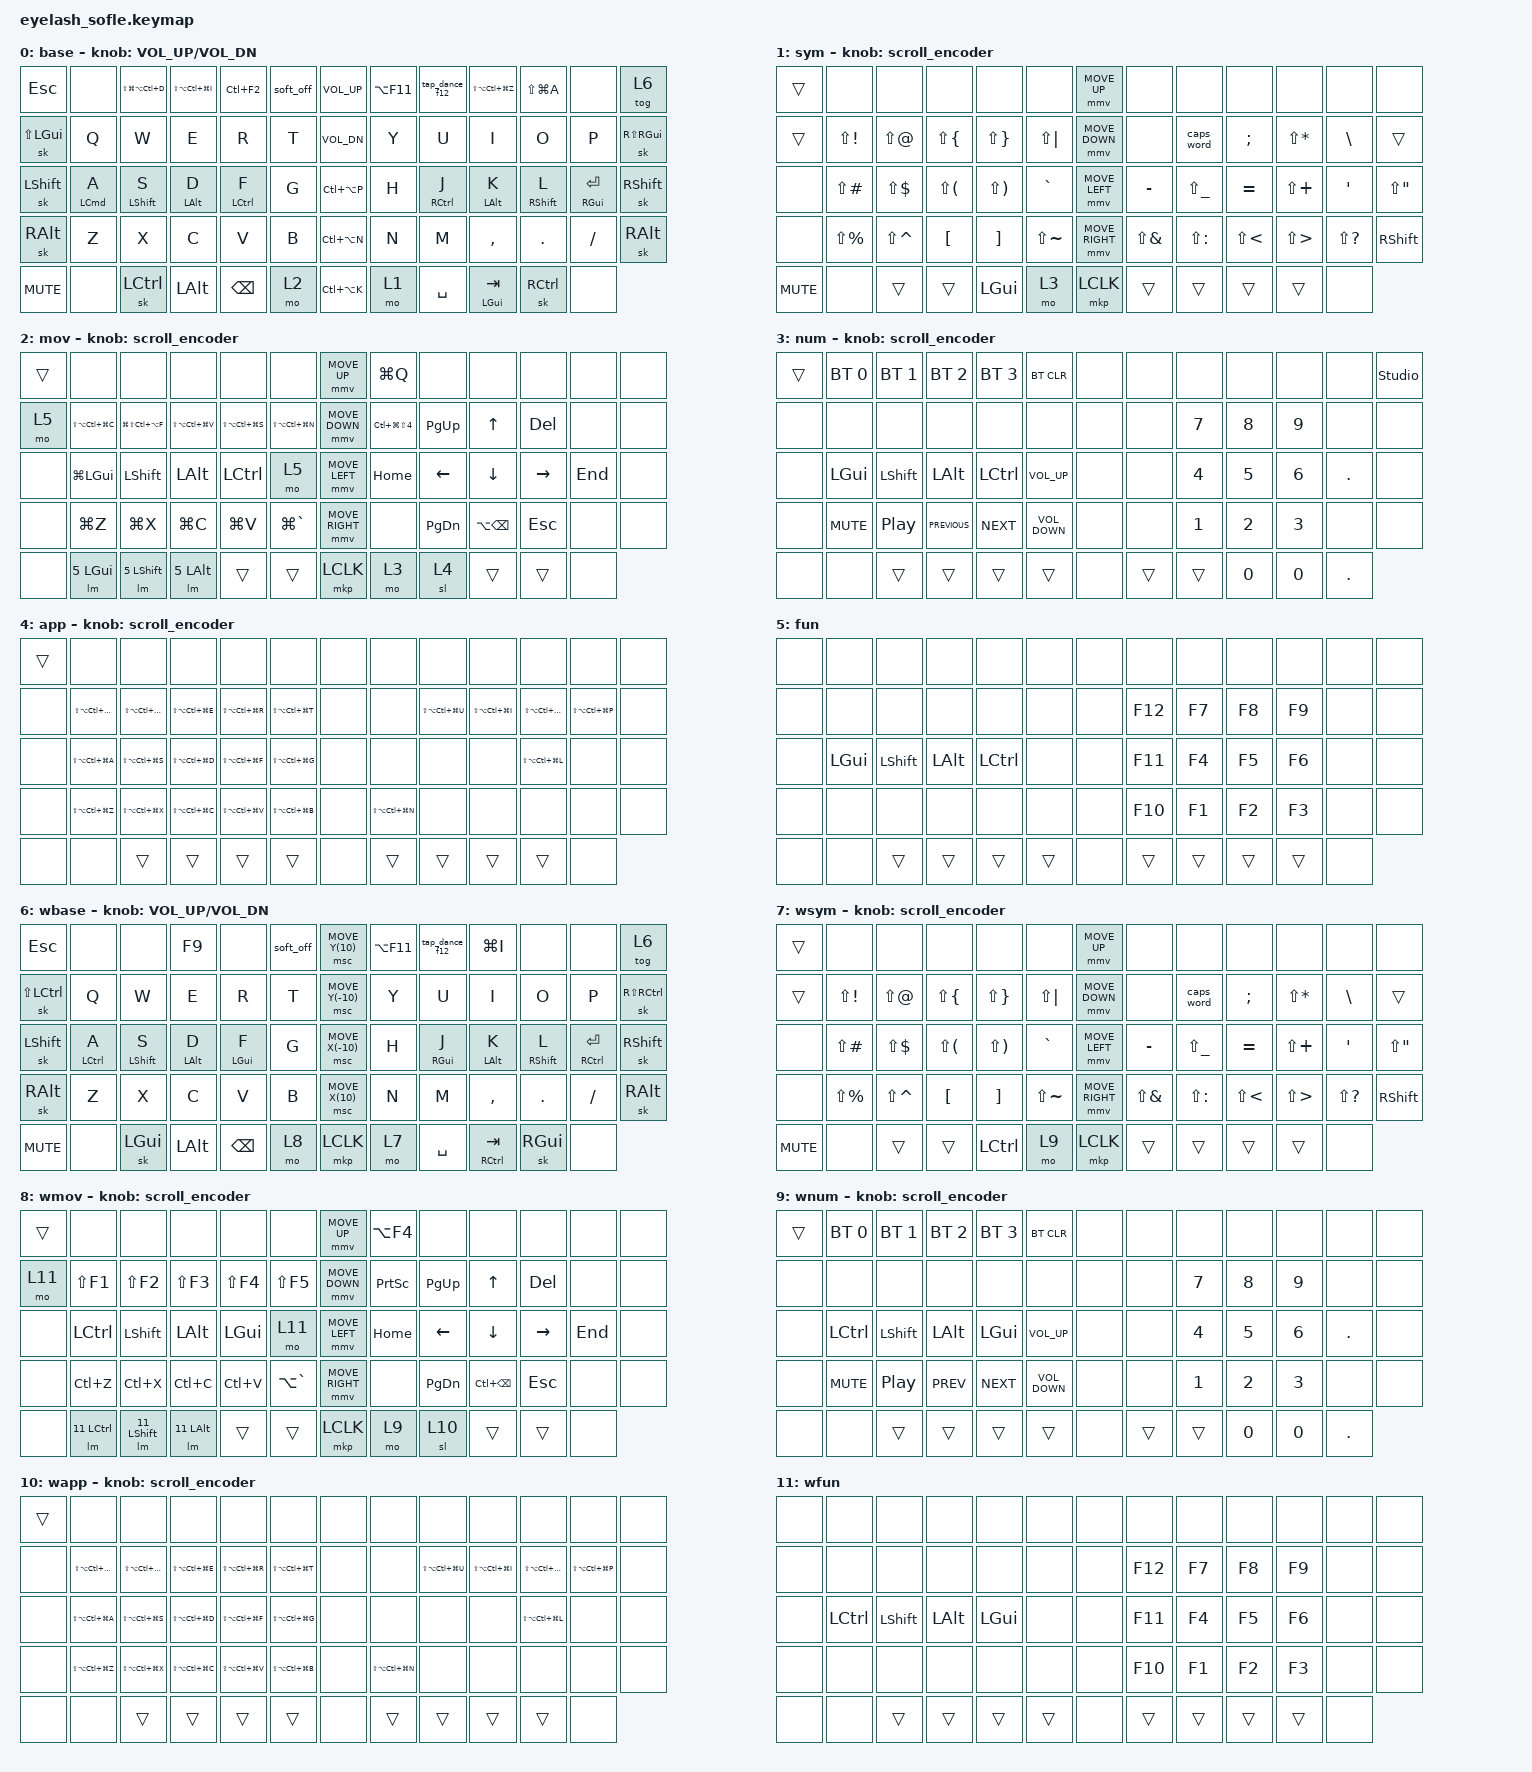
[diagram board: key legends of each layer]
#define ZMK_POINTING_DEFAULT_MOVE_VAL 1200  // 600
#define ZMK_POINTING_DEFAULT_SCRL_VAL 25   // 10

#include <input/processors.dtsi>
#include <zephyr/dt-bindings/input/input-event-codes.h>
#include <behaviors.dtsi>
#include <dt-bindings/zmk/bt.h>
#include <dt-bindings/zmk/keys.h>
#include <dt-bindings/zmk/pointing.h>

&mmv_input_listener { input-processors = <&zip_xy_scaler 2 1>; };

&msc_input_listener { input-processors = <&zip_scroll_scaler 2 1>; };

&msc {
    acceleration-exponent = <1>;      // 0
    time-to-max-speed-ms = <100>;       // 300
    delay-ms = <0>;                   // 0
};

&mmv {
    time-to-max-speed-ms = <500>;
    acceleration-exponent = <1>;
    trigger-period-ms = <16>;
};

&soft_off { hold-time-ms = <2000>; };

/ {
    scroll_encoder: scroll_encoder {
        compatible = "zmk,behavior-sensor-rotate";
        #sensor-binding-cells = <0>;
        bindings = <&msc SCRL_DOWN>, <&msc SCRL_UP>;

        tap-ms = <100>;
    };

    tap_dance_f12: tap_dance_f12 {
        compatible = "zmk,behavior-tap-dance";
        label = "TAP_DANCE_F12";
        #binding-cells = <0>;
        bindings = <&kp F12>, <&kp LS(LA(F12))>;

        tapping-term-ms = <160>;
    };

    behaviors {
        my_lt: my_layer_tap {
            compatible = "zmk,behavior-hold-tap";
            tapping-term-ms = <150>;
            quick-tap-ms = <140>;
            flavor = "hold-preferred";
            #binding-cells = <2>;
            bindings = <&mo>, <&kp>;

            require-prior-idle-ms = <140>;
            display-name = "My Layer-Tap";
        };

        hml: home_row_mod_left {
            compatible = "zmk,behavior-hold-tap";
            #binding-cells = <2>;
            flavor = "balanced";
            require-prior-idle-ms = <150>;
            tapping-term-ms = <280>;
            quick-tap-ms = <175>;
            bindings = <&kp>, <&kp>;

            hold-trigger-on-release;
            hold-trigger-key-positions = <20 21 22 23 24 25 38 51 50 49 48 47 46 33 34 35 36 37 60 59 61>;
        };

        hmr: home_row_mod_right {
            compatible = "zmk,behavior-hold-tap";
            #binding-cells = <2>;
            flavor = "balanced";
            require-prior-idle-ms = <150>;
            tapping-term-ms = <280>;
            quick-tap-ms = <175>;
            bindings = <&kp>, <&kp>;

            hold-trigger-on-release;
            hold-trigger-key-positions = <13 14 15 16 17 18 31 44 43 42 41 40 39 26 27 28 29 30 56>;
        };
    };

    combos {
        compatible = "zmk,combos";

        softoff {
            bindings = <&soft_off>;
            key-positions = <14 28 40>;
        };
    };

    macros {
        SHIFT_MCLK: SHIFT_MCLK {
            compatible = "zmk,behavior-macro";
            #binding-cells = <0>;
            bindings =
                <&macro_press>,
                <&kp LEFT_SHIFT>,
                <&macro_press>,
                <&mkp MB3>,
                <&macro_pause_for_release>,
                <&macro_release>,
                <&kp LEFT_SHIFT &mkp MB3>;

            label = "SHIFT_MCLK";
        };

        lm: lm {
            compatible = "zmk,behavior-macro-two-param";
            #binding-cells = <2>;
            bindings =
                <&macro_param_1to1>,
                <&macro_press>,
                <&mo MACRO_PLACEHOLDER &macro_param_2to1>,
                <&macro_press>,
                <&kp MACRO_PLACEHOLDER>,
                <&macro_pause_for_release>,
                <&macro_param_2to1>,
                <&macro_release>,
                <&kp MACRO_PLACEHOLDER &macro_param_1to1>,
                <&macro_release>,
                <&mo MACRO_PLACEHOLDER>;

            label = "LM";
        };
    };

    keymap {
        compatible = "zmk,keymap";

        base {
            bindings = <
&kp ESC           &none                &kp LS(LG(LA(LC(D))))  &kp LS(LA(LC(LG(I))))  &kp LC(F2)     &soft_off    &kp C_VOLUME_UP  &kp LA(F11)  &tap_dance_f12  &kp LS(LA(LC(LG(Z))))  &kp LS(LG(A))       &none                 &tog 6
&sk LS(LEFT_GUI)  &kp Q                &kp W                  &kp E                  &kp R          &kp T        &kp C_VOL_DN     &kp Y        &kp U           &kp I                  &kp O               &kp P                 &sk RS(RIGHT_GUI)
&sk LEFT_SHIFT    &hml LEFT_COMMAND A  &hml LEFT_SHIFT S      &hml LEFT_ALT D        &hml LCTRL F   &kp G        &kp LC(LA(P))    &kp H        &hmr RCTRL J    &hmr LEFT_ALT K        &hmr RIGHT_SHIFT L  &hmr RIGHT_GUI ENTER  &sk RSHIFT
&sk RIGHT_ALT     &kp Z                &kp X                  &kp C                  &kp V          &kp B        &kp LC(LA(N))    &kp N        &kp M           &kp COMMA              &kp DOT             &kp FSLH              &sk RIGHT_ALT
&kp C_MUTE        &none                &sk LCTRL              &kp LEFT_ALT           &kp BACKSPACE  &mo 2        &kp LC(LA(K))    &mo 1        &kp SPACE       &mt LEFT_GUI TAB       &sk RCTRL           &none
            >;

            sensor-bindings = <&inc_dec_kp C_VOLUME_UP C_VOL_DN>;
            display-name = "base";
        };

        sym {
            bindings = <
&trans      &none          &none          &none         &none         &none            &mmv MOVE_UP     &none         &none          &none       &none         &none          &none
&trans      &kp LS(EXCL)   &kp LS(AT)     &kp LS(LBRC)  &kp LS(RBRC)  &kp LS(PIPE)     &mmv MOVE_DOWN   &none         &caps_word     &kp SEMI    &kp LS(STAR)  &kp BSLH       &trans
&none       &kp LS(POUND)  &kp LS(DLLR)   &kp LS(LPAR)  &kp LS(RPAR)  &kp GRAVE        &mmv MOVE_LEFT   &kp MINUS     &kp LS(UNDER)  &kp EQUAL   &kp LS(PLUS)  &kp SQT        &kp LS(DQT)
&none       &kp LS(PRCNT)  &kp LS(CARET)  &kp LBKT      &kp RBKT      &kp LS(TILDE)    &mmv MOVE_RIGHT  &kp LS(AMPS)  &kp LS(COLON)  &kp LS(LT)  &kp LS(GT)    &kp LS(QMARK)  &kp RIGHT_SHIFT
&kp C_MUTE  &none          &trans         &trans        &kp LEFT_GUI  &mo 3            &mkp LCLK        &trans        &trans         &trans      &trans        &none
            >;

            display-name = "sym";
            sensor-bindings = <&scroll_encoder>;
        };

        mov {
            bindings = <
&trans  &none                  &none                  &none                  &none                  &none                    &mmv MOVE_UP     &kp LG(Q)                 &none      &none         &none      &none    &none
&mo 5   &kp LS(LA(LC(LG(C))))  &kp LG(LS(LC(LA(F))))  &kp LS(LA(LC(LG(V))))  &kp LS(LA(LC(LG(S))))  &kp LS(LA(LC(LG(N))))    &mmv MOVE_DOWN   &kp LC(LG(LS(NUMBER_4)))  &kp PG_UP  &kp UP        &kp DEL    &none    &none
&none   &kp LG(LEFT_GUI)       &kp LEFT_SHIFT         &kp LEFT_ALT           &kp LCTRL              &mo 5                    &mmv MOVE_LEFT   &kp HOME                  &kp LEFT   &kp DOWN      &kp RIGHT  &kp END  &none
&none   &kp LG(Z)              &kp LG(X)              &kp LG(C)              &kp LG(V)              &kp LG(GRAVE)            &mmv MOVE_RIGHT  &none                     &kp PG_DN  &kp LA(BSPC)  &kp ESC    &none    &none
&none   &lm 5 LEFT_GUI         &lm 5 LEFT_SHIFT       &lm 5 LEFT_ALT         &trans                 &trans                   &mkp LCLK        &mo 3                     &sl 4      &trans        &trans     &none
            >;

            display-name = "mov";
            sensor-bindings = <&scroll_encoder>;
        };

        num {
            bindings = <
&trans  &bt BT_SEL 0  &bt BT_SEL 1      &bt BT_SEL 2    &bt BT_SEL 3  &bt BT_CLR           &none  &none   &none   &none   &none   &none    &studio_unlock
&none   &none         &none             &none           &none         &none                &none  &none   &kp N7  &kp N8  &kp N9  &none    &none
&none   &kp LEFT_GUI  &kp LSHIFT        &kp LEFT_ALT    &kp LCTRL     &kp K_VOLUME_UP      &none  &none   &kp N4  &kp N5  &kp N6  &kp DOT  &none
&none   &kp K_MUTE    &kp C_PLAY_PAUSE  &kp C_PREVIOUS  &kp C_NEXT    &kp K_VOLUME_DOWN    &none  &none   &kp N1  &kp N2  &kp N3  &none    &none
&none   &none         &trans            &trans          &trans        &trans               &none  &trans  &trans  &kp N0  &kp N0  &kp DOT
            >;

            display-name = "num";
            sensor-bindings = <&scroll_encoder>;
        };

        app {
            bindings = <
&trans  &none                  &none                  &none                  &none                  &none                    &none  &none                  &none                  &none                  &none                  &none                  &none
&none   &kp LS(LA(LC(LG(Q))))  &kp LS(LA(LC(LG(W))))  &kp LS(LA(LC(LG(E))))  &kp LS(LA(LC(LG(R))))  &kp LS(LA(LC(LG(T))))    &none  &none                  &kp LS(LA(LC(LG(U))))  &kp LS(LA(LC(LG(I))))  &kp LS(LA(LC(LG(O))))  &kp LS(LA(LC(LG(P))))  &none
&none   &kp LS(LA(LC(LG(A))))  &kp LS(LA(LC(LG(S))))  &kp LS(LA(LC(LG(D))))  &kp LS(LA(LC(LG(F))))  &kp LS(LA(LC(LG(G))))    &none  &none                  &none                  &none                  &kp LS(LA(LC(LG(L))))  &none                  &none
&none   &kp LS(LA(LC(LG(Z))))  &kp LS(LA(LC(LG(X))))  &kp LS(LA(LC(LG(C))))  &kp LS(LA(LC(LG(V))))  &kp LS(LA(LC(LG(B))))    &none  &kp LS(LA(LC(LG(N))))  &none                  &none                  &none                  &none                  &none
&none   &none                  &trans                 &trans                 &trans                 &trans                   &none  &trans                 &trans                 &trans                 &trans                 &none
            >;

            display-name = "app";
            sensor-bindings = <&scroll_encoder>;
        };

        fun {
            bindings = <
&none  &none         &none       &none         &none      &none     &none  &none    &none   &none   &none   &none  &none
&none  &none         &none       &none         &none      &none     &none  &kp F12  &kp F7  &kp F8  &kp F9  &none  &none
&none  &kp LEFT_GUI  &kp LSHIFT  &kp LEFT_ALT  &kp LCTRL  &none     &none  &kp F11  &kp F4  &kp F5  &kp F6  &none  &none
&none  &none         &none       &none         &none      &none     &none  &kp F10  &kp F1  &kp F2  &kp F3  &none  &none
&none  &none         &trans      &trans        &trans     &trans    &none  &trans   &trans  &trans  &trans  &none
            >;

            label = "fun";
        };

        wbase {
            display-name = "wbase";
            bindings = <
&kp ESC         &none         &none              &kp F9           &none            &soft_off    &msc MOVE_Y(10)   &kp LA(F11)  &tap_dance_f12    &kp LG(I)        &none               &none                     &tog 6
&sk LS(LCTRL)   &kp Q         &kp W              &kp E            &kp R            &kp T        &msc MOVE_Y(-10)  &kp Y        &kp U             &kp I            &kp O               &kp P                     &sk RS(RCTRL)
&sk LEFT_SHIFT  &hml LCTRL A  &hml LEFT_SHIFT S  &hml LEFT_ALT D  &hml LEFT_GUI F  &kp G        &msc MOVE_X(-10)  &kp H        &hmr RIGHT_GUI J  &hmr LEFT_ALT K  &hmr RIGHT_SHIFT L  &hmr RIGHT_CONTROL ENTER  &sk RSHIFT
&sk RIGHT_ALT   &kp Z         &kp X              &kp C            &kp V            &kp B        &msc MOVE_X(10)   &kp N        &kp M             &kp COMMA        &kp DOT             &kp FSLH                  &sk RIGHT_ALT
&kp C_MUTE      &none         &sk LEFT_GUI       &kp LEFT_ALT     &kp BACKSPACE    &mo 8        &mkp LCLK         &mo 7        &kp SPACE         &mt RCTRL TAB    &sk RIGHT_GUI       &none
            >;

            sensor-bindings = <&inc_dec_kp C_VOLUME_UP C_VOL_DN>;
        };

        wsym {
            display-name = "wsym";
            bindings = <
&trans      &none          &none          &none         &none         &none            &mmv MOVE_UP     &none         &none          &none       &none         &none          &none
&trans      &kp LS(EXCL)   &kp LS(AT)     &kp LS(LBRC)  &kp LS(RBRC)  &kp LS(PIPE)     &mmv MOVE_DOWN   &none         &caps_word     &kp SEMI    &kp LS(STAR)  &kp BSLH       &trans
&none       &kp LS(POUND)  &kp LS(DLLR)   &kp LS(LPAR)  &kp LS(RPAR)  &kp GRAVE        &mmv MOVE_LEFT   &kp MINUS     &kp LS(UNDER)  &kp EQUAL   &kp LS(PLUS)  &kp SQT        &kp LS(DQT)
&none       &kp LS(PRCNT)  &kp LS(CARET)  &kp LBKT      &kp RBKT      &kp LS(TILDE)    &mmv MOVE_RIGHT  &kp LS(AMPS)  &kp LS(COLON)  &kp LS(LT)  &kp LS(GT)    &kp LS(QMARK)  &kp RIGHT_SHIFT
&kp C_MUTE  &none          &trans         &trans        &kp LCTRL     &mo 9            &mkp LCLK        &trans        &trans         &trans      &trans        &none
            >;

            sensor-bindings = <&scroll_encoder>;
        };

        wmov {
            display-name = "wmov";
            bindings = <
&trans  &none         &none              &none            &none         &none            &mmv MOVE_UP     &kp LA(F4)       &none      &none         &none      &none    &none
&mo 11  &kp LS(F1)    &kp LS(F2)         &kp LS(F3)       &kp LS(F4)    &kp LS(F5)       &mmv MOVE_DOWN   &kp PRINTSCREEN  &kp PG_UP  &kp UP        &kp DEL    &none    &none
&none   &kp LCTRL     &kp LEFT_SHIFT     &kp LEFT_ALT     &kp LEFT_GUI  &mo 11           &mmv MOVE_LEFT   &kp HOME         &kp LEFT   &kp DOWN      &kp RIGHT  &kp END  &none
&none   &kp LC(Z)     &kp LC(X)          &kp LC(C)        &kp LC(V)     &kp LA(GRAVE)    &mmv MOVE_RIGHT  &none            &kp PG_DN  &kp LC(BSPC)  &kp ESC    &none    &none
&none   &lm 11 LCTRL  &lm 11 LEFT_SHIFT  &lm 11 LEFT_ALT  &trans        &trans           &mkp LCLK        &mo 9            &sl 10     &trans        &trans     &none
            >;

            sensor-bindings = <&scroll_encoder>;
        };

        wnum {
            display-name = "wnum";
            bindings = <
&trans  &bt BT_SEL 0  &bt BT_SEL 1      &bt BT_SEL 2  &bt BT_SEL 3  &bt BT_CLR           &none  &none   &none   &none   &none   &none    &none
&none   &none         &none             &none         &none         &none                &none  &none   &kp N7  &kp N8  &kp N9  &none    &none
&none   &kp LCTRL     &kp LSHIFT        &kp LEFT_ALT  &kp LEFT_GUI  &kp C_VOLUME_UP      &none  &none   &kp N4  &kp N5  &kp N6  &kp DOT  &none
&none   &kp C_MUTE    &kp C_PLAY_PAUSE  &kp C_PREV    &kp C_NEXT    &kp C_VOLUME_DOWN    &none  &none   &kp N1  &kp N2  &kp N3  &none    &none
&none   &none         &trans            &trans        &trans        &trans               &none  &trans  &trans  &kp N0  &kp N0  &kp DOT
            >;

            sensor-bindings = <&scroll_encoder>;
        };

        wapp {
            display-name = "wapp";
            bindings = <
&trans  &none                  &none                  &none                  &none                  &none                    &none  &none                  &none                  &none                  &none                  &none                  &none
&none   &kp LS(LA(LC(LG(Q))))  &kp LS(LA(LC(LG(W))))  &kp LS(LA(LC(LG(E))))  &kp LS(LA(LC(LG(R))))  &kp LS(LA(LC(LG(T))))    &none  &none                  &kp LS(LA(LC(LG(U))))  &kp LS(LA(LC(LG(I))))  &kp LS(LA(LC(LG(O))))  &kp LS(LA(LC(LG(P))))  &none
&none   &kp LS(LA(LC(LG(A))))  &kp LS(LA(LC(LG(S))))  &kp LS(LA(LC(LG(D))))  &kp LS(LA(LC(LG(F))))  &kp LS(LA(LC(LG(G))))    &none  &none                  &none                  &none                  &kp LS(LA(LC(LG(L))))  &none                  &none
&none   &kp LS(LA(LC(LG(Z))))  &kp LS(LA(LC(LG(X))))  &kp LS(LA(LC(LG(C))))  &kp LS(LA(LC(LG(V))))  &kp LS(LA(LC(LG(B))))    &none  &kp LS(LA(LC(LG(N))))  &none                  &none                  &none                  &none                  &none
&none   &none                  &trans                 &trans                 &trans                 &trans                   &none  &trans                 &trans                 &trans                 &trans                 &none
            >;

            sensor-bindings = <&scroll_encoder>;
        };

        wfun {
            bindings = <
&none  &none      &none       &none         &none         &none     &none  &none    &none   &none   &none   &none  &none
&none  &none      &none       &none         &none         &none     &none  &kp F12  &kp F7  &kp F8  &kp F9  &none  &none
&none  &kp LCTRL  &kp LSHIFT  &kp LEFT_ALT  &kp LEFT_GUI  &none     &none  &kp F11  &kp F4  &kp F5  &kp F6  &none  &none
&none  &none      &none       &none         &none         &none     &none  &kp F10  &kp F1  &kp F2  &kp F3  &none  &none
&none  &none      &trans      &trans        &trans        &trans    &none  &trans   &trans  &trans  &trans  &none
            >;

            label = "wfun";
        };
    };
};
